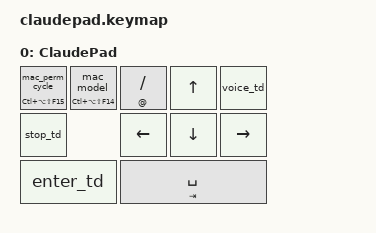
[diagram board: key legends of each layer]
/*
 * ClaudePad keymap
 *
 * Position order comes from claudepad.overlay's default_transform:
 *   0 PERM   1 MODEL  2 CMD   3 UP    4 VOICE
 *   5 STOP   6 LEFT   7 DOWN  8 RIGHT
 *   9 ENTER 10 SPACE
 */

#include <behaviors.dtsi>
#include <dt-bindings/zmk/keys.h>

/ {
    behaviors {
        /* PERM: tap Shift+Tab + F16 sync, hold sends the reset signal (F15). */
        perm_ht: perm_ht {
            compatible = "zmk,behavior-hold-tap";
            #binding-cells = <2>;
            flavor = "tap-preferred";
            tapping-term-ms = <250>;
            bindings = <&kp>, <&mac_perm_cycle>;
        };

        /* MODEL: tap types /model + Enter, hold sends the cycle signal (F14). */
        model_ht: model_ht {
            compatible = "zmk,behavior-hold-tap";
            #binding-cells = <2>;
            flavor = "tap-preferred";
            tapping-term-ms = <250>;
            bindings = <&kp>, <&mac_model>;
        };

        /* CMD: tap /, hold @. */
        cmd_ht: cmd_ht {
            compatible = "zmk,behavior-hold-tap";
            #binding-cells = <2>;
            flavor = "tap-preferred";
            tapping-term-ms = <200>;
            bindings = <&kp>, <&kp>;
        };

        /* SPACE: tap Space, hold Tab, with the three accidental-hold guards. */
        space_ht: space_ht {
            compatible = "zmk,behavior-hold-tap";
            #binding-cells = <2>;
            flavor = "tap-preferred";
            tapping-term-ms = <300>;
            quick-tap-ms = <150>;
            require-prior-idle-ms = <120>;
            bindings = <&kp>, <&kp>;
        };

        /* Inner hold of STOP: 200ms tap-dance + 1000ms hold = 1200ms total. */
        stop_ht: stop_ht {
            compatible = "zmk,behavior-hold-tap";
            #binding-cells = <2>;
            flavor = "tap-preferred";
            tapping-term-ms = <1000>;
            bindings = <&mac_stop_exit>, <&kp>;
        };

        /* STOP: single Esc, double Ctrl+C, long Ctrl+C twice. */
        stop_td: stop_td {
            compatible = "zmk,behavior-tap-dance";
            #binding-cells = <0>;
            tapping-term-ms = <200>;
            bindings = <&stop_ht 0 ESC>, <&kp LC(C)>;
        };

        /* ENTER: single Enter, double Shift+Enter. */
        enter_td: enter_td {
            compatible = "zmk,behavior-tap-dance";
            #binding-cells = <0>;
            tapping-term-ms = <200>;
            bindings = <&kp ENTER>, <&kp LS(ENTER)>;
        };

        /* Inner VOICE: hold means push-to-talk; a single tap still types Space. */
        voice_ht: voice_ht {
            compatible = "zmk,behavior-hold-tap";
            #binding-cells = <2>;
            flavor = "tap-preferred";
            tapping-term-ms = <50>;
            bindings = <&kp>, <&kp>;
        };

        /* VOICE: single Space, double /voice, hold Space for push-to-talk. */
        voice_td: voice_td {
            compatible = "zmk,behavior-tap-dance";
            #binding-cells = <0>;
            tapping-term-ms = <180>;
            bindings = <&voice_ht SPACE SPACE>, <&mac_voice>;
        };
    };

    macros {
        /*
         * Shift+Tab cycles Claude Code's permission mode. F16 follows it as a
         * host-only sync signal so the companion can track the new mode.
         */
        mac_perm_cycle: mac_perm_cycle {
            compatible = "zmk,behavior-macro-one-param";
            #binding-cells = <1>;
            wait-ms = <10>;
            tap-ms = <10>;
            bindings = <&kp LS(TAB)>, <&kp F16>;
        };

        /* One-param so it can share the hold-tap's two-cell binding with &kp. */
        mac_model: mac_model {
            compatible = "zmk,behavior-macro-one-param";
            #binding-cells = <1>;
            wait-ms = <15>;
            tap-ms = <10>;
            bindings = <&kp SLASH>, <&kp M>, <&kp O>, <&kp D>, <&kp E>, <&kp L>, <&kp ENTER>;
        };

        mac_voice: mac_voice {
            compatible = "zmk,behavior-macro";
            #binding-cells = <0>;
            wait-ms = <15>;
            tap-ms = <10>;
            bindings = <&kp SLASH>, <&kp V>, <&kp O>, <&kp I>, <&kp C>, <&kp E>, <&kp ENTER>;
        };

        mac_stop_exit: mac_stop_exit {
            compatible = "zmk,behavior-macro-one-param";
            #binding-cells = <1>;
            wait-ms = <20>;
            tap-ms = <20>;
            bindings = <&kp LC(C)>, <&macro_wait_time 60>, <&kp LC(C)>;
        };
    };

    keymap {
        compatible = "zmk,keymap";

        default_layer {
            display-name = "ClaudePad";
            bindings = <
                &perm_ht LC(LA(LS(F15))) 0
                &model_ht LC(LA(LS(F14))) 0
                &cmd_ht AT_SIGN SLASH
                &kp UP
                &voice_td
                &stop_td
                &kp LEFT
                &kp DOWN
                &kp RIGHT
                &enter_td
                &space_ht TAB SPACE
            >;
        };
    };
};
